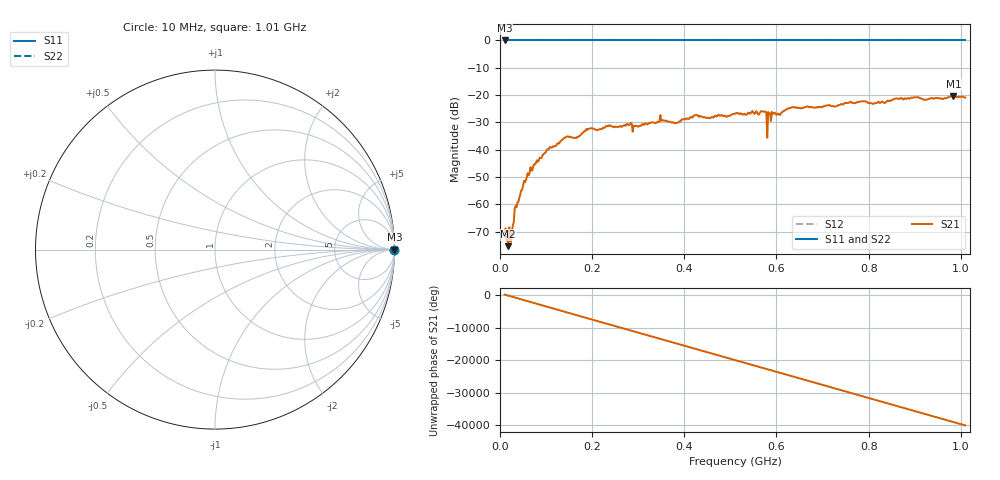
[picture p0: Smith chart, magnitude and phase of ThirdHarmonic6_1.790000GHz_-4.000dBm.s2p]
! 8/16/2025 9:38:55 PM
! C:\ANRITSUVNA\TEMP\TEMP.S2P
! CHANNEL.1
! TR.MEASUREMENT
! RAW.DATA
! RF.CORRECTION.OFF
! AVERAGING.OFF
! IF.BANDWIDTH: 5KHZ
! SWEEPTYPE:  FREQ.SWEEP(Linear)
! Reference Plane Port Info
! PORT:  PORT1  PORT2
! DISTANCE:  0  m  0  m
! TIME:  0  s  0  s
! PHASE.OFFSET:  0  deg.  0  deg.
! LOSS:  0  dB  0  dB
! REF.LOSS:  0  dB  0  dB
! REF.FREQ:  0  Hz  0  Hz
! Power Info
! POWER:  -20  dBm  -20  dBm
! EFF.POWER:  -20  dBm  -20  dBm
! SOURCE.ATTEN:  0  dB  0  dB
! TEST.ATTEN:  0  dB  0  dB
# GHZ S RI R 50.0
! FREQ.GHZ  S11RE  S11IM  S21RE  S21IM  S12RE  S12IM  S22RE  S22IM
!; PortSelection: Port_12
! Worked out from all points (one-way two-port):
!   501 points, 10 MHz to 1.01 GHz, reference 50 ohm
!   highest |S21| = -20.36 dB at 984 MHz (marker M1); lowest = -75.3 dB at 18 MHz (marker M2)
!   lowest |S11| = 0.0 dB at 10 MHz (marker M3)
!   |S11| at or under -10 dB: nowhere
!   |S22| runs from 0.0 to 0.0 dB; largest |S21 - S12| = 1.1
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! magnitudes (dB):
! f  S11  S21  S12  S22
! 10 MHz  0.0  -70.3  0.0  0.0
! 18 MHz  0.0  -75.3  0.0  0.0
! 26 MHz  0.0  -69.6  0.0  0.0
! 36 MHz  0.0  -61.0  0.0  0.0
! 48 MHz  0.0  -54.7  0.0  0.0
! 70 MHz  0.0  -47.7  0.0  0.0
! 106 MHz  0.0  -39.8  0.0  0.0
! 178 MHz  0.0  -34.0  0.0  0.0
! 196 MHz  0.0  -32.1  0.0  0.0
! 292 MHz  0.0  -31.4  0.0  0.0
! 344 MHz  0.0  -29.9  0.0  0.0
! 382 MHz  0.0  -30.2  0.0  0.0
! 424 MHz  0.0  -27.4  0.0  0.0
! 510 MHz  0.0  -26.8  0.0  0.0
! 572 MHz  0.0  -26.0  0.0  0.0
! 584 MHz  0.0  -26.5  0.0  0.0
! 586 MHz  0.0  -26.7  0.0  0.0
! 632 MHz  0.0  -24.5  0.0  0.0
! 678 MHz  0.0  -24.5  0.0  0.0
! 844 MHz  0.0  -22.1  0.0  0.0
! 984 MHz  0.0  -20.4  0.0  0.0
! 1.01 GHz  0.0  -20.9  0.0  0.0
